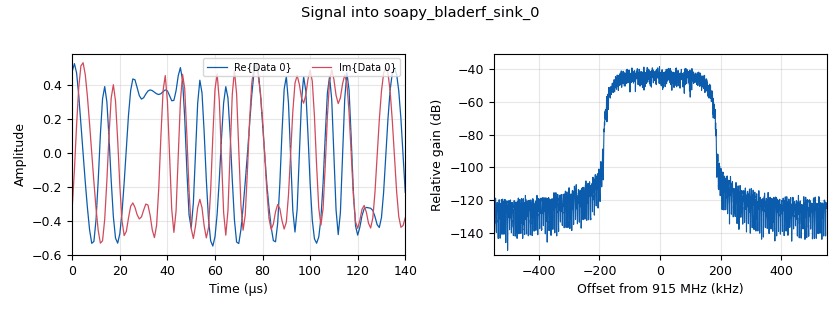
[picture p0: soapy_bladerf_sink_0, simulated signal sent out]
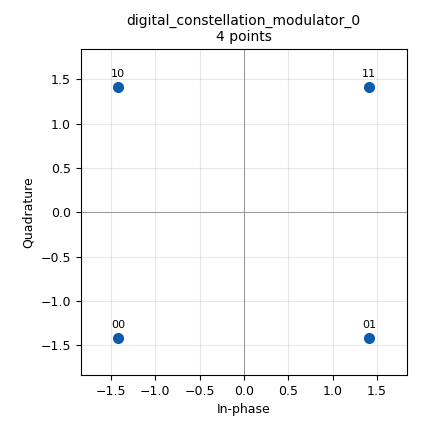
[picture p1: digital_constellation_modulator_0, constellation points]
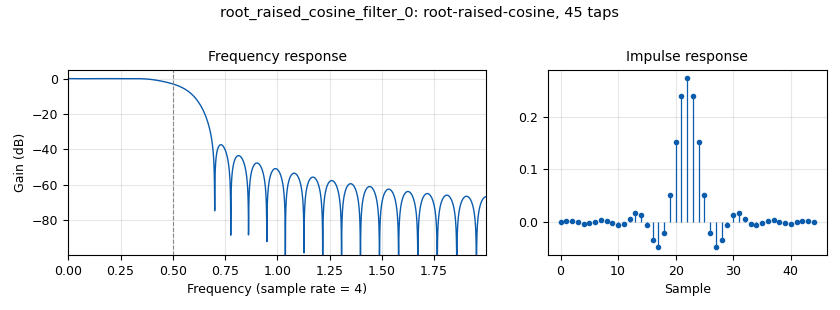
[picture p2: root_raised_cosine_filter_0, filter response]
options:
  parameters:
    generate_options: qt_gui
    id: ws_3_4
    output_language: python
    title: '3.2'
  states: {}

blocks:
- name: cons_obj
  id: variable_constellation
  parameters:
    precision: '8'
    type: qpsk
  states: {}
- name: excess_bw
  id: variable
  parameters:
    value: '0.35'
  states: {}
- name: freq
  id: variable
  parameters:
    value: '915000000'
  states: {}
- name: loop_bw
  id: variable_qtgui_range
  parameters:
    label: loop_bw
    start: '0'
    step: '0.1'
    stop: '5'
    value: '0'
  states: {}
- name: samp_rate
  id: variable
  parameters:
    value: symb_rate*sps
  states: {}
- name: sps
  id: variable
  parameters:
    value: '4'
  states: {}
- name: symb_rate
  id: variable
  parameters:
    value: 275 * 1000
  states: {}
- name: analog_feedforward_agc_cc_0
  id: analog_feedforward_agc_cc
  parameters:
    num_samples: '64'
    reference: '1.55'
  states: {}
- name: analog_random_source_x_0
  id: analog_random_source_x
  parameters:
    max: '256'
    min: '0'
    num_samps: '1000'
    repeat: 'True'
    type: byte
  states: {}
- name: blocks_multiply_const_vxx_0
  id: blocks_multiply_const_vxx
  parameters:
    const: '0.25'
    type: complex
  states: {}
- name: blocks_multiply_const_vxx_1
  id: blocks_multiply_const_vxx
  parameters:
    const: '2'
    type: complex
  states: {}
- name: digital_constellation_modulator_0
  id: digital_constellation_modulator
  parameters:
    constellation: cons_obj
    differential: 'False'
    excess_bw: excess_bw
    samples_per_symbol: sps
  states: {}
- name: digital_costas_loop_cc_0
  id: digital_costas_loop_cc
  parameters:
    order: '4'
    w: loop_bw*0.00001
  states: {}
- name: digital_meas_evm_cc_0
  id: digital_meas_evm_cc
  parameters:
    cons: cons_obj
    meas_type: digital.evm_measurement_t.EVM_PERCENT
  states: {}
- name: digital_symbol_sync_xx_0
  id: digital_symbol_sync_xx
  parameters:
    damping: '1.0'
    loop_bw: '0.045'
    max_dev: '1.5'
    osps: '1'
    resamp_type: digital.IR_MMSE_8TAP
    sps: sps
    ted_gain: '1.0'
    ted_type: digital.TED_EARLY_LATE
    type: cc
  states: {}
- name: import_0
  id: import
  parameters:
    imports: import numpy as np
  states: {}
- name: qtgui_const_sink_x_0
  id: qtgui_const_sink_x
  parameters:
    grid: 'True'
    size: '1024'
    type: complex
  states: {}
- name: qtgui_number_sink_0
  id: qtgui_number_sink
  parameters:
    avg: '0.001'
    graph_type: qtgui.NUM_GRAPH_HORIZ
    name: '"EVM(%)"'
    type: float
  states: {}
- name: root_raised_cosine_filter_0
  id: root_raised_cosine_filter
  parameters:
    alpha: excess_bw
    decim: '1'
    gain: '1'
    ntaps: 11*sps
    samp_rate: sps
    sym_rate: '1.0'
    type: fir_filter_ccf
  states: {}
- name: soapy_bladerf_sink_0
  id: soapy_bladerf_sink
  parameters:
    center_freq: freq
    dev_args: serial=38306da1e3964066ad646c0a2b56e27a
    samp_rate: samp_rate
    type: fc32
  states: {}
- name: soapy_bladerf_source_0
  id: soapy_bladerf_source
  parameters:
    center_freq: freq
    dev_args: serial=7f85de4a50b14068a0f8fe685abf5284
    samp_rate: samp_rate
    type: fc32
  states: {}

connections:
- [analog_feedforward_agc_cc_0, '0', root_raised_cosine_filter_0, '0']
- [analog_random_source_x_0, '0', digital_constellation_modulator_0, '0']
- [blocks_multiply_const_vxx_0, '0', soapy_bladerf_sink_0, '0']
- [blocks_multiply_const_vxx_1, '0', digital_meas_evm_cc_0, '0']
- [digital_constellation_modulator_0, '0', blocks_multiply_const_vxx_0, '0']
- [digital_costas_loop_cc_0, '0', blocks_multiply_const_vxx_1, '0']
- [digital_costas_loop_cc_0, '0', qtgui_const_sink_x_0, '0']
- [digital_meas_evm_cc_0, '0', qtgui_number_sink_0, '0']
- [digital_symbol_sync_xx_0, '0', digital_costas_loop_cc_0, '0']
- [root_raised_cosine_filter_0, '0', digital_symbol_sync_xx_0, '0']
- [soapy_bladerf_source_0, '0', analog_feedforward_agc_cc_0, '0']

metadata:
  file_format: 1
